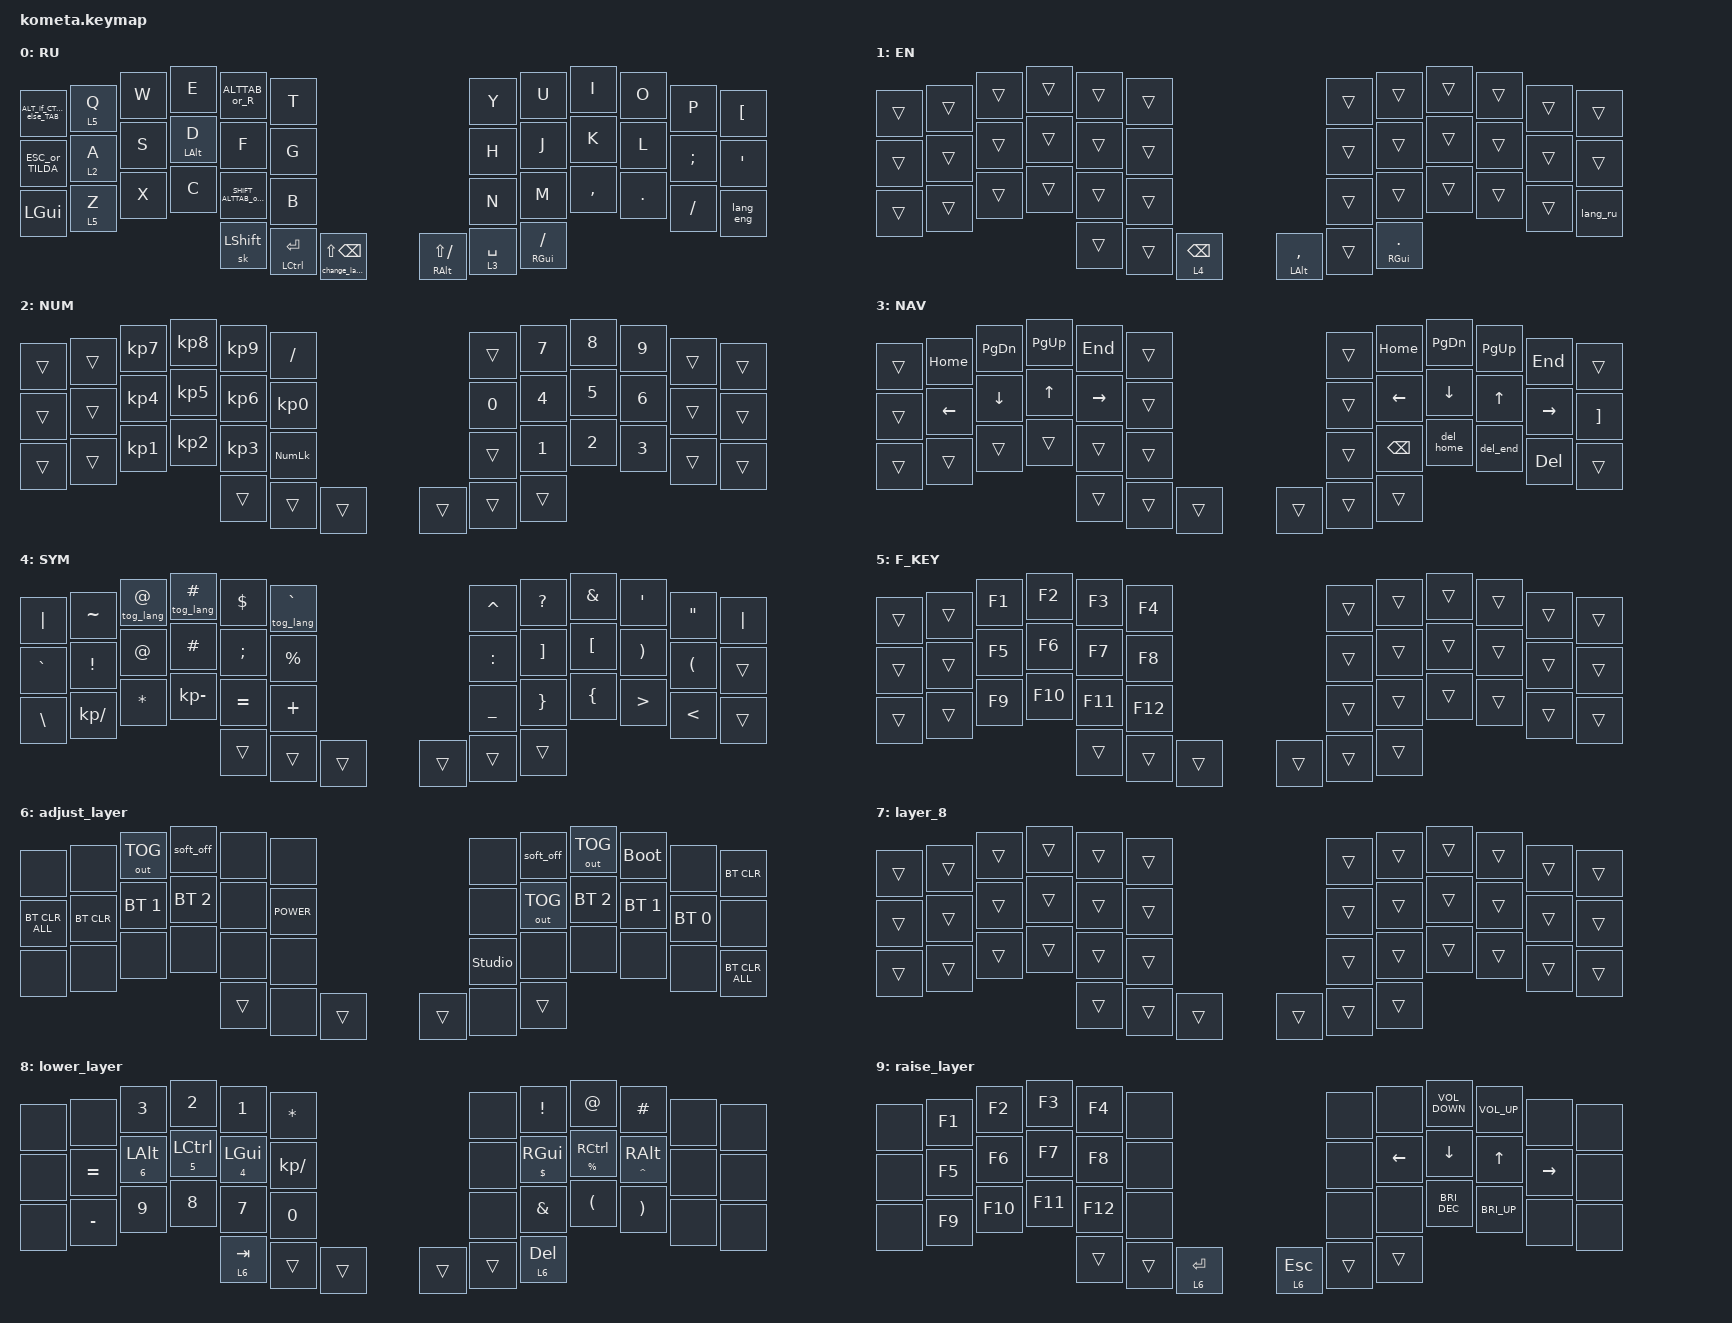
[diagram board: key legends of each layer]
#include <behaviors.dtsi>
#include <dt-bindings/zmk/bt.h>
#include <dt-bindings/zmk/keys.h>
#include <dt-bindings/zmk/outputs.h>

#define DEF 0
#define LWR 1
#define RSE 2
#define ADJ 3

/ {
};

/ {
    behaviors {
        hr: hr {
            compatible = "zmk,behavior-hold-tap";
            label = "home_row";
            bindings = <&kp>, <&kp>;

            #binding-cells = <2>;
            tapping-term-ms = <150>;
            quick-tap-ms = <250>;
            flavor = "tap-preferred";
        };

        copy: copy {
            compatible = "zmk,behavior-tap-dance";
            label = "COPY";
            #binding-cells = <0>;
            bindings = <&kp C>, <&kp K_COPY>;
        };

        paste: paste {
            compatible = "zmk,behavior-tap-dance";
            label = "PASTE";
            #binding-cells = <0>;
            bindings = <&kp V>, <&kp INSERT>;
        };

        SYM_or_tap: SYM_or_tap {
            compatible = "zmk,behavior-hold-tap";
            label = "SYM_OR_TAP";
            bindings = <&change_lang_and_goto_SYM>, <&kp>;

            #binding-cells = <2>;
            tapping-term-ms = <150>;
            flavor = "balanced";
        };

        ESC_or_TILDA: ESC_or_TILDA {
            compatible = "zmk,behavior-mod-morph";
            label = "ESC_OR_TILDA";
            bindings = <&kp ESC>, <&kp LS(GRAVE)>;

            #binding-cells = <0>;
            mods = <(MOD_LSFT)>;
            keep-mods = <(MOD_LSFT)>;
        };

        ALT_if_CTRL_else_TAB: ALT_if_CTRL_else_TAB {
            compatible = "zmk,behavior-mod-morph";
            label = "ALT_IF_CTRL_ELSE_TAB";
            bindings = <&kp TAB>, <&kp LEFT_ALT>;

            #binding-cells = <0>;
            mods = <(MOD_LCTL|MOD_RCTL)>;
            keep-mods = <(MOD_LCTL|MOD_RCTL)>;
        };

        ALT: ALT {
            compatible = "zmk,behavior-hold-tap";
            label = "ALT";
            bindings = <&kp>, <&kp>;

            #binding-cells = <2>;
            tapping-term-ms = <150>;
            flavor = "tap-preferred";
            retro-tap;
            hold-trigger-key-positions = <4 28 5 34>;
        };

        ALTTAB_or_R: ALTTAB_or_R {
            compatible = "zmk,behavior-mod-morph";
            label = "ALTTAB_OR_R";
            bindings = <&kp R>, <&kp TAB>;

            #binding-cells = <0>;
            mods = <(MOD_LALT)>;
            keep-mods = <(MOD_LALT)>;
        };

        SHIFT_ALTTAB_or_V: SHIFT_ALTTAB_or_V {
            compatible = "zmk,behavior-mod-morph";
            label = "SHIFT_ALTTAB_OR_V";
            bindings = <&kp V>, <&kp LS(TAB)>;

            #binding-cells = <0>;
            mods = <(MOD_LALT)>;
            keep-mods = <(MOD_LALT)>;
        };
    };

    macros {
        change_lang_and_goto_SYM: change_lang_and_goto_SYM {
            compatible = "zmk,behavior-macro";
            #binding-cells = <0>;
            bindings =
                <&macro_wait_time 0>,
                <&macro_tap_time 0>,
                <&macro_tap>,
                <&kp LA(RIGHT_SHIFT)>,
                <&macro_press>,
                <&mo 4>,
                <&macro_pause_for_release>,
                <&macro_release>,
                <&mo 4>,
                <&macro_tap>,
                <&kp LA(LEFT_SHIFT)>;

            label = "CHANGE_LANG_AND_GOTO_SYM";
        };

        lang_eng: lang_eng {
            compatible = "zmk,behavior-macro";
            #binding-cells = <0>;
            bindings = <&kp LA(LEFT_SHIFT) &to 1>;
            label = "LANG_ENG";
        };

        lang_ru: lang_ru {
            compatible = "zmk,behavior-macro";
            #binding-cells = <0>;
            bindings = <&kp LA(LEFT_SHIFT) &to 0>;
            label = "LANG_RU";
        };

        del_end: del_end {
            compatible = "zmk,behavior-macro";
            #binding-cells = <0>;
            bindings = <&kp LS(END) &kp DEL>;
            label = "DEL_END";
        };

        del_home: del_home {
            compatible = "zmk,behavior-macro";
            #binding-cells = <0>;
            bindings = <&kp LS(HOME) &kp DEL>;
            label = "DEL_HOME";
        };

        tog_lang: tog_lang {
            compatible = "zmk,behavior-macro-one-param";
            #binding-cells = <1>;
            bindings =
                <&macro_tap>,
                <&kp LA(LEFT_SHIFT) &macro_param_1to1 &kp MACRO_PLACEHOLDER>,
                <&macro_tap>,
                <&kp LA(LEFT_SHIFT)>;

            label = "TOG_LANG";
        };
    };

    combos {
        compatible = "zmk,combos";

        goto_ADJ {
            bindings = <&mo 6>;
            key-positions = <31 41>;
        };

        to_EN {
            bindings = <&to 1>;
            key-positions = <33 34>;
            layers = <0>;
        };

        printscreen {
            bindings = <&kp LS(LG(S))>;
            key-positions = <16 4>;
        };

        collapse {
            bindings = <&kp LG(A)>;
            key-positions = <28 16>;
        };

        ctrl_enter {
            bindings = <&kp LC(ENTER)>;
            key-positions = <17 5>;
        };

        NAV {
            bindings = <&mo 3>;
            key-positions = <29 37>;
        };

        to_RUS {
            bindings = <&to 0>;
            key-positions = <33 34>;
            layers = <1>;
        };
    };

    keymap {
        compatible = "zmk,keymap";

        RU {
            bindings = <
&ALT_if_CTRL_else_TAB  &lt 5 Q  &kp W  &kp E            &ALTTAB_or_R        &kp T                        &kp Y                    &kp U        &kp I                &kp O    &kp P     &kp LEFT_BRACKET
&ESC_or_TILDA          &lt 2 A  &kp S  &ALT LEFT_ALT D  &kp F               &kp G                        &kp H                    &kp J        &kp K                &kp L    &kp SEMI  &kp SQT
&kp LEFT_GUI           &lt 5 Z  &kp X  &kp C            &SHIFT_ALTTAB_or_V  &kp B                        &kp N                    &kp M        &kp COMMA            &kp DOT  &kp FSLH  &lang_eng
                                       &sk LSHFT        &mt LCTRL ENTER     &SYM_or_tap 0 LS(BACKSPACE)  &mt RIGHT_ALT LS(SLASH)  &lt 3 SPACE  &mt RIGHT_GUI SLASH
            >;
        };

        EN {
            bindings = <
&trans  &trans  &trans  &trans  &trans  &trans           &trans              &trans  &trans                &trans  &trans  &trans
&trans  &trans  &trans  &trans  &trans  &trans           &trans              &trans  &trans                &trans  &trans  &trans
&trans  &trans  &trans  &trans  &trans  &trans           &trans              &trans  &trans                &trans  &trans  &lang_ru
                        &trans  &trans  &lt 4 BACKSPACE  &mt LEFT_ALT COMMA  &trans  &mt RIGHT_GUI PERIOD
            >;
        };

        NUM {
            bindings = <
&trans  &trans  &kp KP_NUMBER_7  &kp KP_N8        &kp KP_N9        &kp FSLH         &trans  &kp N7  &kp N8  &kp N9  &trans  &trans
&trans  &trans  &kp KP_NUMBER_4  &kp KP_NUMBER_5  &kp KP_NUMBER_6  &kp KP_NUMBER_0  &kp N0  &kp N4  &kp N5  &kp N6  &trans  &trans
&trans  &trans  &kp KP_NUMBER_1  &kp KP_NUMBER_2  &kp KP_NUMBER_3  &kp KP_NUMLOCK   &trans  &kp N1  &kp N2  &kp N3  &trans  &trans
                                 &trans           &trans           &trans           &trans  &trans  &trans
            >;
        };

        NAV {
            bindings = <
&trans  &kp HOME  &kp PG_DN  &kp PG_UP     &kp END    &trans  &trans  &kp HOME  &kp PG_DN       &kp PAGE_UP   &kp END    &trans
&trans  &kp LEFT  &kp DOWN   &kp UP_ARROW  &kp RIGHT  &trans  &trans  &kp LEFT  &kp DOWN_ARROW  &kp UP_ARROW  &kp RIGHT  &kp RBKT
&trans  &trans    &trans     &trans        &trans     &trans  &trans  &kp BSPC  &del_home       &del_end      &kp DEL    &trans
                             &trans        &trans     &trans  &trans  &trans    &trans
            >;
        };

        SYM {
            bindings = <
&kp PIPE       &kp TILDE        &tog_lang AT_SIGN  &tog_lang HASH  &kp DOLLAR     &tog_lang GRAVE  &kp CARET       &kp QUESTION       &kp AMPERSAND     &kp SQT                &kp DOUBLE_QUOTES     &kp PIPE
&kp GRAVE      &kp EXCLAMATION  &kp AT             &kp HASH        &kp SEMICOLON  &kp PERCENT      &kp COLON       &kp RIGHT_BRACKET  &kp LEFT_BRACKET  &kp RIGHT_PARENTHESIS  &kp LEFT_PARENTHESIS  &trans
&kp BACKSLASH  &kp KP_SLASH     &kp STAR           &kp KP_MINUS    &kp EQUAL      &kp PLUS         &kp UNDERSCORE  &kp RIGHT_BRACE    &kp LEFT_BRACE    &kp GREATER_THAN       &kp LESS_THAN         &trans
                                                   &trans          &trans         &trans           &trans          &trans             &trans
            >;
        };

        F_KEY {
            bindings = <
&trans  &trans  &kp F1  &kp F2   &kp F3   &kp F4   &trans  &trans  &trans  &trans  &trans  &trans
&trans  &trans  &kp F5  &kp F6   &kp F7   &kp F8   &trans  &trans  &trans  &trans  &trans  &trans
&trans  &trans  &kp F9  &kp F10  &kp F11  &kp F12  &trans  &trans  &trans  &trans  &trans  &trans
                        &trans   &trans   &trans   &trans  &trans  &trans
            >;
        };

        adjust_layer {
            bindings = <
&none           &none       &out OUT_TOG  &soft_off     &none  &none        &none           &soft_off     &out OUT_TOG  &bootloader   &none         &bt BT_CLR
&bt BT_CLR_ALL  &bt BT_CLR  &bt BT_SEL 1  &bt BT_SEL 2  &none  &kp K_POWER  &none           &out OUT_TOG  &bt BT_SEL 2  &bt BT_SEL 1  &bt BT_SEL 0  &none
&none           &none       &none         &none         &none  &none        &studio_unlock  &none         &none         &none         &none         &bt BT_CLR_ALL
                                          &trans        &none  &trans       &trans          &none         &trans
            >;
        };

        layer_8 {
            bindings = <
&trans  &trans  &trans  &trans  &trans  &trans  &trans  &trans  &trans  &trans  &trans  &trans
&trans  &trans  &trans  &trans  &trans  &trans  &trans  &trans  &trans  &trans  &trans  &trans
&trans  &trans  &trans  &trans  &trans  &trans  &trans  &trans  &trans  &trans  &trans  &trans
                        &trans  &trans  &trans  &trans  &trans  &trans
            >;
        };

        lower_layer {
            bindings = <
&none  &none      &kp NUMBER_3           &kp NUMBER_2         &kp N1                 &kp ASTERISK   &none   &kp EXCLAMATION       &kp AT_SIGN           &kp HASH               &none  &none
&none  &kp EQUAL  &hr NUMBER_6 LEFT_ALT  &hr N5 LEFT_CONTROL  &hr NUMBER_4 LEFT_GUI  &kp KP_DIVIDE  &none   &hr DOLLAR RIGHT_GUI  &hr PERCENT RCTRL     &hr CARET RIGHT_ALT    &none  &none
&none  &kp MINUS  &kp N9                 &kp N8               &kp N7                 &kp N0         &none   &kp AMPERSAND         &kp LEFT_PARENTHESIS  &kp RIGHT_PARENTHESIS  &none  &none
                                         &lt 6 TAB            &trans                 &trans         &trans  &trans                &lt 6 DEL
            >;
        };

        raise_layer {
            bindings = <
&none  &kp F1  &kp F2   &kp F3   &kp F4   &none      &none      &none     &kp C_VOLUME_DOWN     &kp C_VOLUME_UP  &none            &none
&none  &kp F5  &kp F6   &kp F7   &kp F8   &none      &none      &kp LEFT  &kp DOWN              &kp UP           &kp RIGHT_ARROW  &none
&none  &kp F9  &kp F10  &kp F11  &kp F12  &none      &none      &none     &kp C_BRIGHTNESS_DEC  &kp C_BRI_UP     &none            &none
                        &trans   &trans   &lt 6 RET  &lt 6 ESC  &trans    &trans
            >;
        };
    };
};
